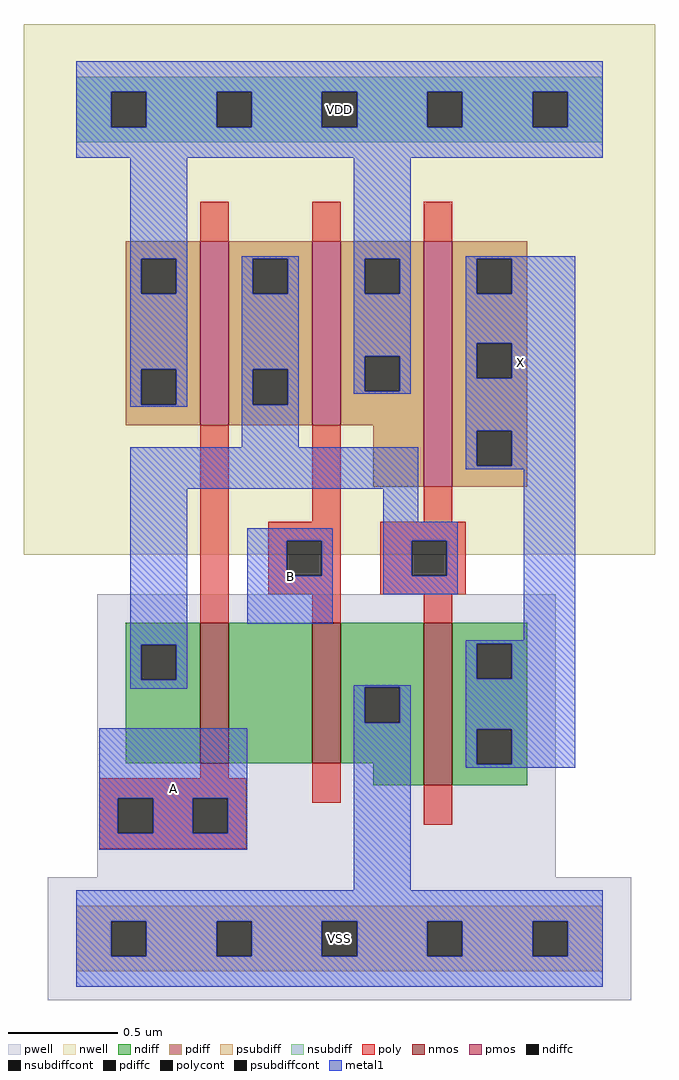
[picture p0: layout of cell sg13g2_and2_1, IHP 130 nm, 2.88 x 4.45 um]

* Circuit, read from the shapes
.subckt sg13g2_and2_1 X VSS VDD B A
XM1 n1 A n2 VSS sg13_lv_nmos w=0.64u l=0.13u
XM2 VSS B n1 VSS sg13_lv_nmos w=0.64u l=0.13u
XM3 X n2 VSS VSS sg13_lv_nmos w=0.74u l=0.13u
XM4 n2 A VDD VDD sg13_lv_pmos w=0.84u l=0.13u
XM5 VDD B n2 VDD sg13_lv_pmos w=0.84u l=0.13u
XM6 X n2 VDD VDD sg13_lv_pmos w=1.12u l=0.13u
.ends

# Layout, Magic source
magic
tech ihp-sg13g2
magscale 1 2
<< nwell >>
rect -48 350 528 834
<< pwell >>
rect 19 56 437 314
rect -26 -56 506 56
<< nmos >>
rect 113 160 139 288
rect 215 160 241 288
rect 317 140 343 288
<< pmos >>
rect 113 468 139 636
rect 215 468 241 636
rect 317 412 343 636
<< ndiff >>
rect 45 268 113 288
rect 45 236 59 268
rect 91 236 113 268
rect 45 160 113 236
rect 139 160 215 288
rect 241 229 317 288
rect 241 197 263 229
rect 295 197 317 229
rect 241 160 317 197
rect 271 140 317 160
rect 343 269 411 288
rect 343 237 365 269
rect 397 237 411 269
rect 343 191 411 237
rect 343 159 365 191
rect 397 159 411 191
rect 343 140 411 159
<< pdiff >>
rect 45 620 113 636
rect 45 588 59 620
rect 91 588 113 620
rect 45 519 113 588
rect 45 487 59 519
rect 91 487 113 519
rect 45 468 113 487
rect 139 620 215 636
rect 139 588 161 620
rect 193 588 215 620
rect 139 519 215 588
rect 139 487 161 519
rect 193 487 215 519
rect 139 468 215 487
rect 241 620 317 636
rect 241 588 263 620
rect 295 588 317 620
rect 241 531 317 588
rect 241 499 263 531
rect 295 499 317 531
rect 241 468 317 499
rect 271 412 317 468
rect 343 620 411 636
rect 343 588 365 620
rect 397 588 411 620
rect 343 543 411 588
rect 343 511 365 543
rect 397 511 411 543
rect 343 463 411 511
rect 343 431 365 463
rect 397 431 411 463
rect 343 412 411 431
<< ndiffc >>
rect 59 236 91 268
rect 263 197 295 229
rect 365 237 397 269
rect 365 159 397 191
<< pdiffc >>
rect 59 588 91 620
rect 59 487 91 519
rect 161 588 193 620
rect 161 487 193 519
rect 263 588 295 620
rect 263 499 295 531
rect 365 588 397 620
rect 365 511 397 543
rect 365 431 397 463
<< psubdiff >>
rect 0 16 480 30
rect 0 -16 32 16
rect 64 -16 128 16
rect 160 -16 224 16
rect 256 -16 320 16
rect 352 -16 416 16
rect 448 -16 480 16
rect 0 -30 480 -16
<< nsubdiff >>
rect 0 772 480 786
rect 0 740 32 772
rect 64 740 128 772
rect 160 740 224 772
rect 256 740 320 772
rect 352 740 416 772
rect 448 740 480 772
rect 0 726 480 740
<< psubdiffcont >>
rect 32 -16 64 16
rect 128 -16 160 16
rect 224 -16 256 16
rect 320 -16 352 16
rect 416 -16 448 16
<< nsubdiffcont >>
rect 32 740 64 772
rect 128 740 160 772
rect 224 740 256 772
rect 320 740 352 772
rect 416 740 448 772
<< poly >>
rect 113 636 139 672
rect 215 636 241 672
rect 317 636 343 672
rect 113 288 139 468
rect 215 380 241 468
rect 317 380 343 412
rect 175 363 241 380
rect 175 331 192 363
rect 224 331 241 363
rect 175 314 241 331
rect 277 363 355 380
rect 277 331 306 363
rect 338 331 355 363
rect 277 314 355 331
rect 215 288 241 314
rect 317 288 343 314
rect 113 146 139 160
rect 21 128 155 146
rect 21 96 38 128
rect 70 96 106 128
rect 138 96 155 128
rect 215 124 241 160
rect 317 104 343 140
rect 21 82 155 96
<< polycont >>
rect 192 331 224 363
rect 306 331 338 363
rect 38 96 70 128
rect 106 96 138 128
<< metal1 >>
rect 0 772 480 800
rect 0 740 32 772
rect 64 740 128 772
rect 160 740 224 772
rect 256 740 320 772
rect 352 740 416 772
rect 448 740 480 772
rect 0 712 480 740
rect 49 620 101 712
rect 49 588 59 620
rect 91 588 101 620
rect 49 519 101 588
rect 49 487 59 519
rect 91 487 101 519
rect 49 485 101 487
rect 151 620 203 622
rect 151 588 161 620
rect 193 588 203 620
rect 151 519 203 588
rect 151 487 161 519
rect 193 487 203 519
rect 253 620 305 712
rect 253 588 263 620
rect 295 588 305 620
rect 253 531 305 588
rect 253 499 263 531
rect 295 499 305 531
rect 253 497 305 499
rect 355 620 455 622
rect 355 588 365 620
rect 397 588 455 620
rect 355 543 455 588
rect 355 511 365 543
rect 397 511 455 543
rect 151 448 203 487
rect 355 463 455 511
rect 49 410 312 448
rect 355 431 365 463
rect 397 431 455 463
rect 355 428 455 431
rect 49 268 101 410
rect 280 380 312 410
rect 156 363 234 374
rect 156 331 192 363
rect 224 331 234 363
rect 156 287 234 331
rect 280 363 348 380
rect 280 331 306 363
rect 338 331 348 363
rect 280 314 348 331
rect 408 272 455 428
rect 49 236 59 268
rect 91 236 101 268
rect 49 228 101 236
rect 355 269 455 272
rect 355 237 365 269
rect 397 237 455 269
rect 253 229 305 231
rect 253 197 263 229
rect 295 197 305 229
rect 21 128 156 192
rect 21 96 38 128
rect 70 96 106 128
rect 138 96 156 128
rect 21 81 156 96
rect 253 44 305 197
rect 355 191 455 237
rect 355 159 365 191
rect 397 159 455 191
rect 355 156 455 159
rect 0 16 480 44
rect 0 -16 32 16
rect 64 -16 128 16
rect 160 -16 224 16
rect 256 -16 320 16
rect 352 -16 416 16
rect 448 -16 480 16
rect 0 -44 480 -16
<< labels >>
flabel metal1 s 355 428 455 622 0 FreeSans 400 0 0 0 X
port 2 nsew
flabel metal1 s 0 -44 480 44 0 FreeSans 400 0 0 0 VSS
port 3 nsew
flabel metal1 s 0 712 480 800 0 FreeSans 400 0 0 0 VDD
port 4 nsew
flabel metal1 s 156 287 234 374 0 FreeSans 400 0 0 0 B
port 5 nsew
flabel metal1 s 21 81 156 192 0 FreeSans 400 0 0 0 A
port 6 nsew
<< properties >>
string FIXED_BBOX 0 0 480 756
string GDS_END 84416
string GDS_FILE ../gds/controller.gds
string GDS_START 80122
<< end >>
